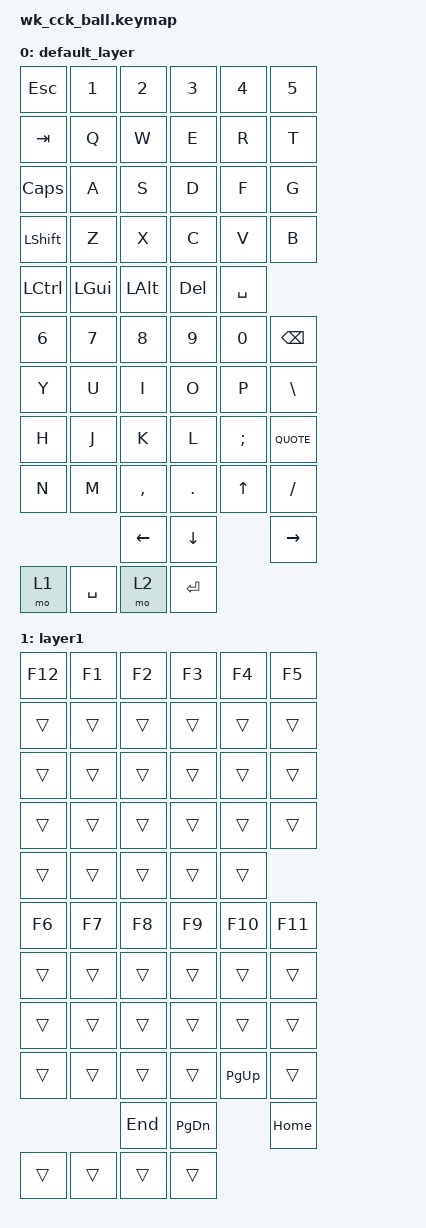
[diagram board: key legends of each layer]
/ {
    keymap {
        compatible = "zmk,keymap";

        default_layer {
            bindings = <
                &kp ESC  &kp N1 &kp N2 &kp N3 &kp N4 &kp N5
                &kp TAB  &kp Q  &kp W  &kp E  &kp R  &kp T
                &kp CAPS &kp A  &kp S  &kp D  &kp F  &kp G
                &kp LSHFT &kp Z &kp X  &kp C  &kp V  &kp B
                &kp LCTRL &kp LGUI &kp LALT  &kp DEL  &kp SPACE

                &kp N6 &kp N7 &kp N8 &kp N9 &kp N0 &kp BSPC
                &kp Y  &kp U  &kp I  &kp O  &kp P  &kp BSLH
                &kp H  &kp J  &kp K  &kp L  &kp SEMI &kp QUOTE
                &kp N  &kp M  &kp COMMA &kp DOT &kp UP &kp SLASH
                               &kp LEFT &kp DOWN &kp RIGHT

                &mo 1   &kp SPACE   &mo 2   &kp ENTER
            >;
        };

        layer1 {
            bindings = <
                &kp F12 &kp F1 &kp F2 &kp F3 &kp F4 &kp F5
                &trans  &trans &trans &trans &trans &trans
                &trans  &trans &trans &trans &trans &trans
                &trans  &trans &trans &trans &trans &trans
                &trans  &trans &trans &trans &trans

                &kp F6 &kp F7 &kp F8 &kp F9 &kp F10 &kp F11
                &trans &trans &trans &trans &trans &trans
                &trans &trans &trans &trans &trans &trans
                &trans &trans &trans &trans &kp PG_UP &trans
                               &kp END &kp PG_DN &kp HOME

                &trans &trans &trans &trans
            >;
        };
    };
};　
